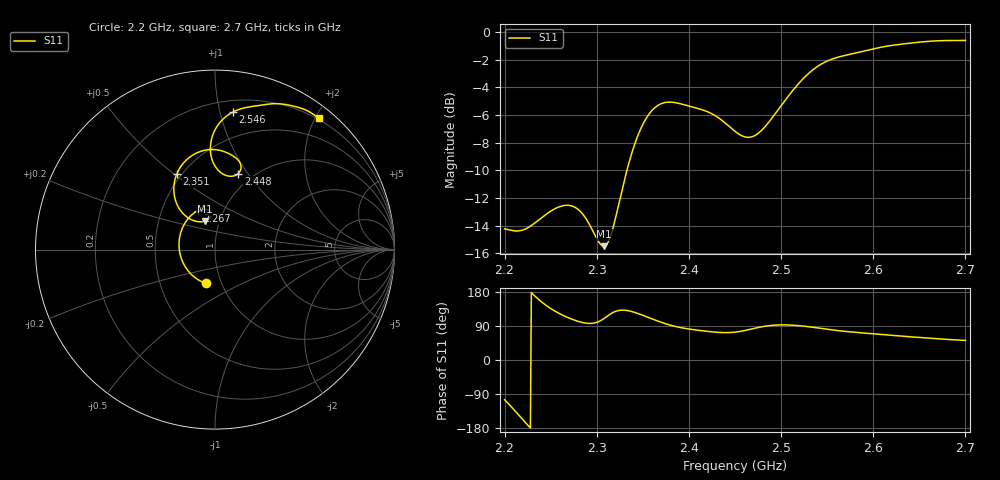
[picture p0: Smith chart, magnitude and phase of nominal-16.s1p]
! PRELIMINARY bare PCB unless shell_eps > 0; see README.md
! L220 output ($1N324), with L220 and C216 excluded and C217 DNP
# Hz S RI R 50
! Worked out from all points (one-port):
!   501 points, 2.2 GHz to 2.7 GHz, reference 50 ohm
!   lowest |S11| = -15.5 dB at 2.308 GHz (marker M1), VSWR 1.40, Z = 42.5 + j13.9 ohm
!   |S11| at or under -10 dB: start of sweep to 2.333 GHz
!   S11 on the Smith chart (normalised r, x): 2.2 GHz: 0.85, -0.33; 2.267 GHz: 0.76, +0.35; 2.351 GHz: 0.47, +0.51; 2.448 GHz: 0.86, +0.90; 2.546 GHz: 0.29, +1.10; 2.7 GHz: 0.18, +2.06
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2.2e9  -0.05 -0.1879
2.217e9  -0.1662 -0.0951
2.229e9  -0.1997 0.00724
2.246e9  -0.1749 0.1345
2.263e9  -0.1117 0.2074
2.267e9  -0.0954 0.2164
2.28e9  -0.0468 0.2234
2.291e9  -0.0235 0.2032
2.302e9  -0.0339 0.1714
2.308e9  -0.0569 0.1584
2.315e9  -0.0964 0.1558
2.325e9  -0.163 0.1866
2.339e9  -0.2261 0.2982
2.351e9  -0.2136 0.4195
2.368e9  -0.1057 0.5369
2.388e9  0.0286 0.5525
2.423e9  0.134 0.4924
2.448e9  0.1296 0.424
2.45e9  0.1245 0.4198
2.464e9  0.0754 0.4095
2.477e9  0.025 0.4348
2.496e9  -0.0212 0.5189
2.513e9  -0.0193 0.6164
2.528e9  0.0201 0.6991
2.546e9  0.1011 0.7671
2.575e9  0.226 0.8002
2.638e9  0.4333 0.8003
2.7e9  0.5794 0.7305
